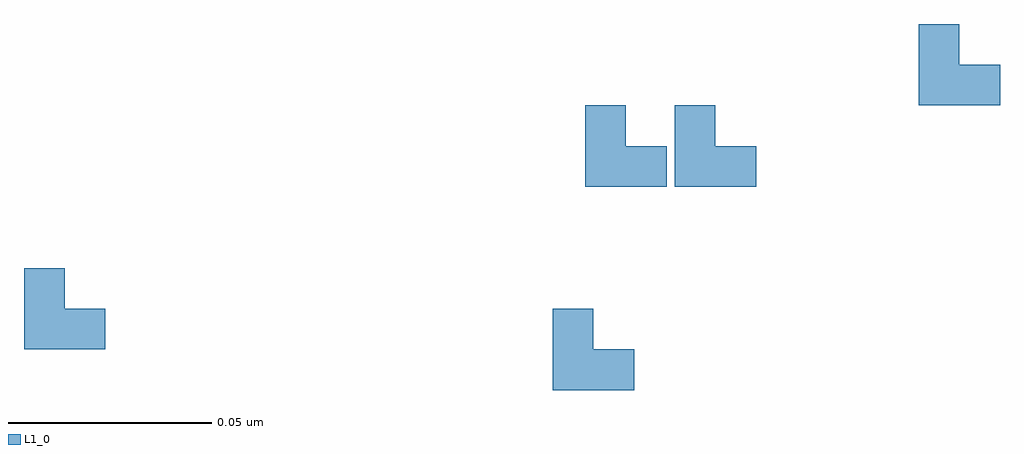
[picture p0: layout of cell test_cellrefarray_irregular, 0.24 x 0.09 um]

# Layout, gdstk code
import gdstk
lib = gdstk.Library(unit=1e-6, precision=1e-09)
def P(c, l, *ps):  # polygons
    for p in ps: c.add(gdstk.Polygon(p, *l))
L1_0 = (1, 0)

test = lib.new_cell('test')
P(test, L1_0, [(0,0),(0,0.02),(0.01,0.02),(0.01,0.01),(0.02,0.01),(0.02,0)])

test_cellrefarray_irregu = lib.new_cell('test_cellrefarray_irregular')
test_cellrefarray_irregu.add(gdstk.Reference(test, (0,0)))
test_cellrefarray_irregu.add(gdstk.Reference(test, (0,0)))
test_cellrefarray_irregu.add(gdstk.Reference(test, (0,0)))
test_cellrefarray_irregu.add(gdstk.Reference(test, (0.008,0.05)))
test_cellrefarray_irregu.add(gdstk.Reference(test, (-0.13,0.01)))
test_cellrefarray_irregu.add(gdstk.Reference(test, (0.09,0.07)))
test_cellrefarray_irregu.add(gdstk.Reference(test, (0.03,0.05)))
test_cellrefarray_irregu.add(gdstk.Reference(test, (0,0)))

lib.write_gds('test_cellrefarray_irregular.gds')
